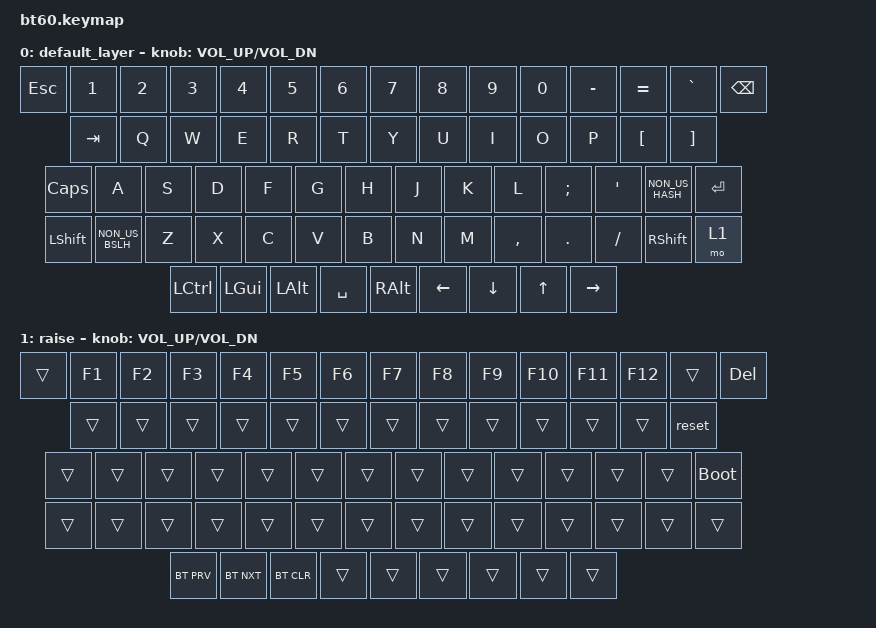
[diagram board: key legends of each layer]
#include <behaviors.dtsi>
#include <dt-bindings/zmk/keys.h>
#include <dt-bindings/zmk/bt.h>

/ {
	keymap {
		compatible = "zmk,keymap";

		default_layer {
				// ------------------------------------------------------------------------------------------
				// | ESC |  1  |  2  |  3  |  4  |  5  |  6  |  7  |  8  |  9  |  0  |  -  |  =  |  GRAVE  |   BKSP   |
				// | TAB  |  Q  |  W  |  E  |  R  |  T  |  Y  |  U  |  I  |  O  |  P  |  [  |  ]  |
				// | CAPS  |  A  |  S  |  D  |  F  |  G  |  H  |  J  |  K  |  L  |  ;  |  '  |  NON_US_HASH  |  ENTER    |
				// |  SHIFT  | NON_US_BSLH  |  Z  |  X  |  C  |  V  |  B  |  N  |  M  |  ,  |  .  | /   |      SHIFT     |  1  |
				// |  CTL  |  WIN  |  ALT  |            SPACE               |  RALT  | LEFT | DOWN    |  UP    |  RIGHT    |
				// ------------------------------------------------------------------------------------------
			bindings = <
				&kp ESC &kp N1 &kp N2 &kp N3 &kp N4 &kp N5 &kp N6 &kp N7 &kp  N8   &kp  N9 &kp  N0  &kp MINUS &kp EQUAL &kp GRAVE &kp BSPC
				&kp TAB  &kp Q  &kp W  &kp E  &kp R  &kp T  &kp Y  &kp U  &kp  I    &kp  O  &kp  P   &kp LEFT_BRACKET  &kp RIGHT_BRACKET  
				&kp CLCK  &kp A  &kp S  &kp D  &kp F  &kp G  &kp H  &kp J  &kp  K    &kp  L  &kp SEMI &kp SQT    &kp NON_US_HASH       &kp RET
				&kp LSHFT  &kp NON_US_BSLH  &kp Z  &kp X  &kp C  &kp V  &kp B  &kp N  &kp M  &kp COMMA &kp DOT &kp FSLH             &kp RSHFT  &mo 1
				&kp LCTRL &kp LGUI &kp LALT            &kp SPACE                          &kp RALT  &kp LEFT &kp DOWN &kp UP &kp RIGHT
			>;
			sensor-bindings = <&inc_dec_kp C_VOL_UP C_VOL_DN>;
		};
		raise {
			bindings = <
				&trans &kp F1 &kp F2 &kp F3 &kp F4 &kp F5 &kp F6 &kp F7 &kp  F8   &kp  F9 &kp  F10  &kp F11 &kp F12  &trans &kp DEL
				&trans &trans &trans &trans &trans &trans &trans &trans &trans &trans &trans &trans &reset
				&trans    &trans &trans &trans &trans &trans &trans &trans &trans &trans &trans  &trans &trans   &bootloader
				&trans &trans &trans &trans &trans &trans &trans &trans &trans &trans &trans  &trans &trans &trans
				&bt BT_PRV &bt BT_NXT  &bt BT_CLR              &trans                            &trans   &trans   &trans &trans &trans
			>;
			sensor-bindings = <&inc_dec_kp C_VOL_UP C_VOL_DN>;
		};
	};
};
